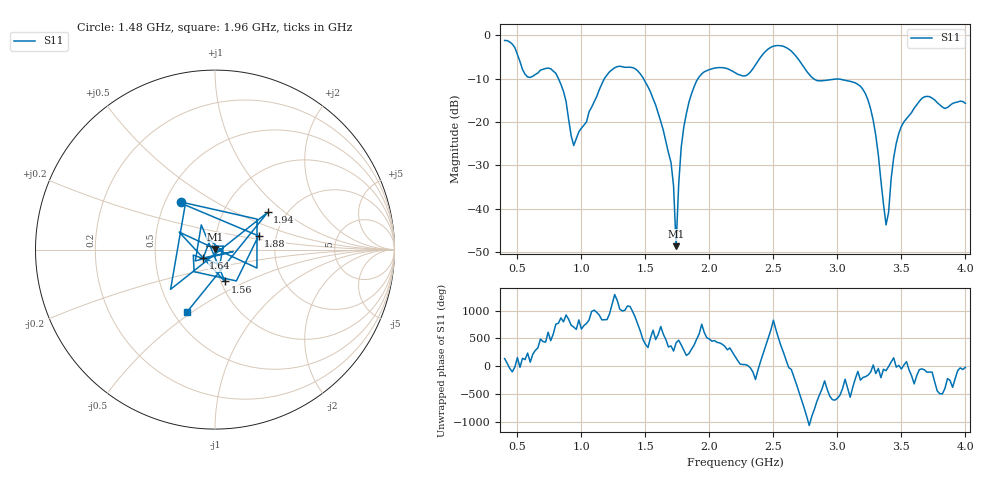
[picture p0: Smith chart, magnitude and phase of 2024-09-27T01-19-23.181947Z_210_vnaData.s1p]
!Created with skrf (http://scikit-rf.org).
# Hz S RI R 50.0
!freq ReS11 ImS11
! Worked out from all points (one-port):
!   181 points, 400 MHz to 4 GHz, reference 50 ohm
!   lowest |S11| = -48.7 dB at 1.74 GHz (marker M1), VSWR 1.01, Z = 50.2 + j0.323 ohm
!   |S11| at or under -10 dB: 821.1 MHz to 1.179 GHz (357.8 MHz wide, 35.8 % of centre); 1.485 GHz to 1.911 GHz (425.3 MHz wide, 25 % of centre); 2.815 GHz to end of sweep
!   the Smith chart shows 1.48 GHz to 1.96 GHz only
!   S11 on the Smith chart (normalised r, x): 1.48 GHz: 0.60, +0.36; 1.56 GHz: 1.05, -0.38; 1.64 GHz: 0.87, -0.08; 1.88 GHz: 1.61, +0.26; 1.94 GHz: 1.61, +0.77; 1.96 GHz: 0.59, -0.48
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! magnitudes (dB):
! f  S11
! 400 MHz  -1.2
! 580 MHz  -9.6
! 760 MHz  -7.7
! 860 MHz  -12.9
! 940 MHz  -25.4
! 1.18 GHz  -9.9
! 1.3 GHz  -7.1
! 1.48 GHz  -9.7
! 1.56 GHz  -14.6
! 1.64 GHz  -21.9
! 1.7 GHz  -29.3
! 1.72 GHz  -34.8
! 1.74 GHz  -48.7
! 1.76 GHz  -34.4
! 1.8 GHz  -21.2
! 1.88 GHz  -11.9
! 1.94 GHz  -8.9
! 1.96 GHz  -8.4
! 2.2 GHz  -8.6
! 2.66 GHz  -4.2
! 2.84 GHz  -10.4
! 3.1 GHz  -10.6
! 3.26 GHz  -17.0
! 3.38 GHz  -43.8
! 3.46 GHz  -24.9
! 3.56 GHz  -18.5
! 3.68 GHz  -14.2
! 4 GHz  -15.7
